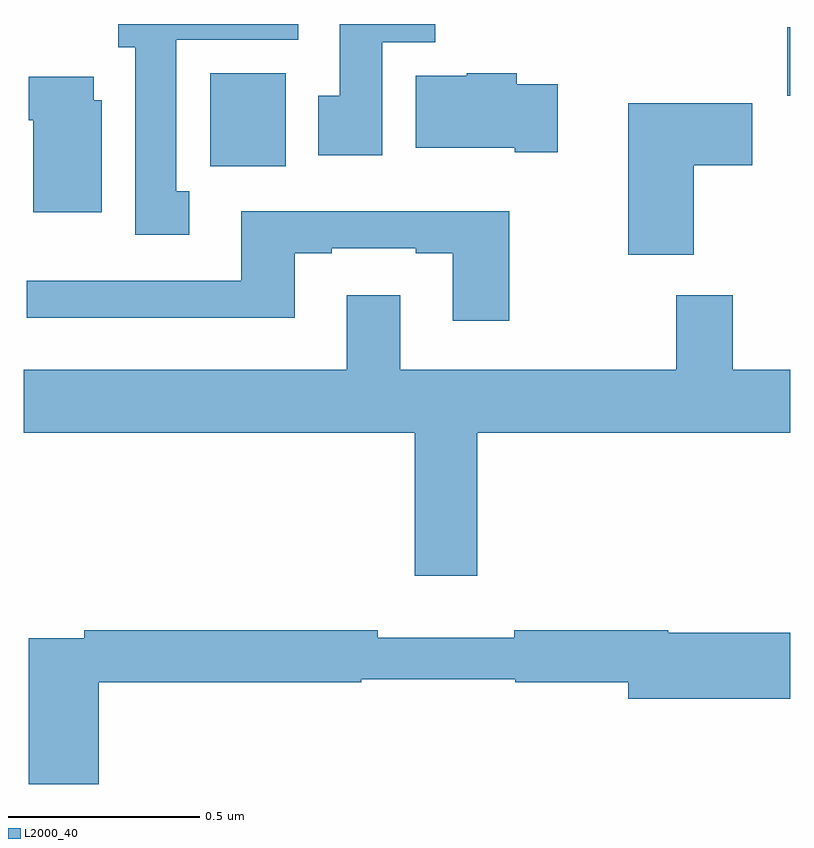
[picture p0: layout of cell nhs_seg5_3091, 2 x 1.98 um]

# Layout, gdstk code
import gdstk
lib = gdstk.Library(unit=1e-6, precision=1e-09)
def R(c, l, rs):  # rectangles x0, y0, x1, y1
    for r in rs: c.add(gdstk.rectangle(r[:2], r[2:], *l))
def P(c, l, *ps):  # polygons
    for p in ps: c.add(gdstk.Polygon(p, *l))
L2000_40 = (2000, 40)

nhs_seg5_3091 = lib.new_cell('nhs_seg5_3091')
R(nhs_seg5_3091, L2000_40, [(152.486,885.428,152.683,885.67), (153.992,885.612,154,885.791)])
P(nhs_seg5_3091, L2000_40, [(152.935,885.752),(153.074,885.752),(153.074,885.799),(152.825,885.799),(152.825,885.612),(152.768,885.612),(152.768,885.456),(152.935,885.456)],
  [(152.431,885.362),(152.398,885.362),(152.398,885.758),(152.716,885.758),(152.716,885.799),(152.246,885.799),(152.246,885.738),(152.291,885.738),(152.291,885.249),(152.431,885.249)],
  [(153.394,885.642),(153.287,885.642),(153.287,885.67),(153.156,885.67),(153.156,885.664),(153.023,885.664),(153.023,885.476),(153.281,885.476),(153.281,885.464),(153.394,885.464)],
  [(152.203,885.6),(152.182,885.6),(152.182,885.661),(152.012,885.661),(152.012,885.548),(152.024,885.548),(152.024,885.308),(152.203,885.308)],
  [(153.748,885.43),(153.901,885.43),(153.901,885.592),(153.578,885.592),(153.578,885.197),(153.748,885.197)],
  [(153.267,885.31),(152.567,885.31),(152.567,885.129),(152.007,885.129),(152.007,885.032),(152.707,885.032),(152.707,885.201),(152.803,885.201),(152.803,885.213),(153.023,885.213),(153.023,885.201),(153.119,885.201),(153.119,885.024),(153.267,885.024)],
  [(153.184,884.732),(154,884.732),(154,884.896),(153.85,884.896),(153.85,885.091),(153.703,885.091),(153.703,884.896),(152.983,884.896),(152.983,885.091),(152.843,885.091),(152.843,884.896),(152,884.896),(152,884.732),(153.02,884.732),(153.02,884.358),(153.184,884.358)],
  [(152.195,884.08),(152.88,884.08),(152.88,884.088),(153.282,884.088),(153.282,884.08),(153.578,884.08),(153.578,884.038),(154,884.038),(154,884.21),(153.682,884.21),(153.682,884.216),(153.28,884.216),(153.28,884.197),(152.924,884.197),(152.924,884.216),(152.158,884.216),(152.158,884.196),(152.012,884.196),(152.012,883.815),(152.195,883.815)])

lib.write_gds('nhs_seg5_3091.gds')
